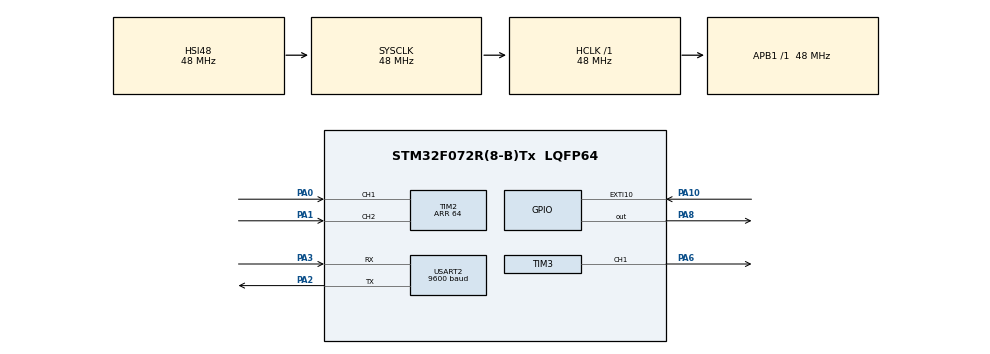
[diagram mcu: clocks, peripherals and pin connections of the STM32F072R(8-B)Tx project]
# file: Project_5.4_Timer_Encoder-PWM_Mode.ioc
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Mcu.Family=STM32F0
Mcu.Name=STM32F072R(8-B)Tx
Mcu.Package=LQFP64
NVIC.EXTI4_15_IRQn=true\:0\:0\:false\:false\:true\:true\:true\:true
PA0.Signal=S_TIM2_CH1_ETR
PA1.Signal=S_TIM2_CH2
PA10.GPIO_PuPd=GPIO_PULLUP
PA10.Signal=GPXTI10
PA2.Mode=Asynchronous
PA2.Signal=USART2_TX
PA3.Mode=Asynchronous
PA3.Signal=USART2_RX
PA6.Signal=S_TIM3_CH1
PA8.Signal=GPIO_Output
ProjectManager.HeapSize=0x200
ProjectManager.StackSize=0x400
ProjectManager.TargetToolchain=STM32CubeIDE
RCC.AHBFreq_Value=48000000
RCC.APB1Freq_Value=48000000
RCC.APB1TimFreq_Value=48000000
RCC.HCLKFreq_Value=48000000
RCC.SYSCLKFreq_VALUE=48000000
RCC.SYSCLKSource=RCC_SYSCLKSOURCE_HSI48
SH.S_TIM2_CH1_ETR.0=TIM2_CH1,Encoder_Interface
SH.S_TIM2_CH2.0=TIM2_CH2,Encoder_Interface
SH.S_TIM3_CH1.0=TIM3_CH1,PWM Generation1 CH1
TIM2.AutoReloadPreload=TIM_AUTORELOAD_PRELOAD_ENABLE
TIM2.CounterMode=TIM_COUNTERMODE_CENTERALIGNED1
TIM2.EncoderMode=TIM_ENCODERMODE_TI12
TIM2.IC1Filter=15
TIM2.IC2Filter=15
TIM2.Period=64
TIM3.AutoReloadPreload=TIM_AUTORELOAD_PRELOAD_ENABLE
TIM3.Channel-PWM\ Generation1\ CH1=TIM_CHANNEL_1
TIM3.OCMode_PWM-PWM\ Generation1\ CH1=TIM_OCMODE_PWM2
TIM3.Period=64
USART2.BaudRate=9600
USART2.VirtualMode-Asynchronous=VM_ASYNC
VP_TIM3_VS_ClockSourceINT.Mode=Internal
board=custom

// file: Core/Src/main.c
/* USER CODE BEGIN Header */
/**
  ******************************************************************************
  * @file           : main.c
  * @brief          : Main program body
  ******************************************************************************
  * @attention
  *
  * Copyright (c) 2023 STMicroelectronics.
  * All rights reserved.
  *
  * This software is licensed under terms that can be found in the LICENSE file
  * in the root directory of this software component.
  * If no LICENSE file comes with this software, it is provided AS-IS.
  *
  ******************************************************************************
  */
/* USER CODE END Header */
#include "main.h"

TIM_HandleTypeDef htim2;
TIM_HandleTypeDef htim3;

UART_HandleTypeDef huart2;

void SystemClock_Config(void);
static void MX_GPIO_Init(void);
static void MX_TIM2_Init(void);
static void MX_TIM3_Init(void);
static void MX_USART2_UART_Init(void);

/* USER CODE BEGIN 0 */
uint8_t start_msg[50] = {"Encoder is starting\n\r"};
uint8_t stop_msg[50] = {"Encoder is stopped\n\r"};
uint8_t status = 0;

void HAL_GPIO_EXTI_Callback(uint16_t GPIO_Pin){

	if(GPIO_Pin == GPIO_PIN_10){

		HAL_GPIO_TogglePin(GPIOA, GPIO_PIN_8);
		switch (status){
		case 0:
	    	  HAL_TIM_Encoder_Start(&htim2, TIM_CHANNEL_ALL);
	    	  HAL_TIM_PWM_Start(&htim3, TIM_CHANNEL_1);
	    	  HAL_UART_Transmit(&huart2, start_msg, sizeof(start_msg), 100);
	    	  status = 1;
	    	  break;
		case 1:
	    	  HAL_TIM_Encoder_Stop(&htim2, TIM_CHANNEL_ALL);
			  HAL_TIM_PWM_Stop(&htim3, TIM_CHANNEL_1);
	          HAL_UART_Transmit(&huart2, stop_msg, sizeof(stop_msg), 100);
	          status=0;
	          break;

		}

	}
}
/* USER CODE END 0 */

int main(void)
{
  /* USER CODE BEGIN 1 */
	uint8_t msg[50] = {'\0'};
	uint16_t LED_Duty_Cycle = 0;
  /* USER CODE END 1 */

  /* MCU Configuration--------------------------------------------------------*/

  /* Reset of all peripherals, Initializes the Flash interface and the Systick. */
  HAL_Init();

  /* Configure the system clock */
  SystemClock_Config();

  /* Initialize all configured peripherals */
  MX_GPIO_Init();
  MX_TIM2_Init();
  MX_TIM3_Init();
  MX_USART2_UART_Init();

  /* Infinite loop */
  while (1)
  {

    /* USER CODE BEGIN 3 */
		if (status) {

			sprintf(msg, "Brightness of the LED = %d\n\r", ((TIM2->CNT)) >> 1);
			HAL_UART_Transmit(&huart2, msg, sizeof(msg), 100);

		}
		HAL_Delay(100);
		LED_Duty_Cycle = ((TIM2->CNT));
		TIM3->CCR1 = LED_Duty_Cycle;
  }
  /* USER CODE END 3 */
}

void SystemClock_Config(void)
{
  RCC_OscInitTypeDef RCC_OscInitStruct = {0};
  RCC_ClkInitTypeDef RCC_ClkInitStruct = {0};
  RCC_PeriphCLKInitTypeDef PeriphClkInit = {0};

  /** Initializes the RCC Oscillators according to the specified parameters
  * in the RCC_OscInitTypeDef structure.
  */
  RCC_OscInitStruct.OscillatorType = RCC_OSCILLATORTYPE_HSI48;
  RCC_OscInitStruct.HSI48State = RCC_HSI48_ON;
  RCC_OscInitStruct.PLL.PLLState = RCC_PLL_NONE;
  if (HAL_RCC_OscConfig(&RCC_OscInitStruct) != HAL_OK)
  {
    Error_Handler();
  }

  /** Initializes the CPU, AHB and APB buses clocks
  */
  RCC_ClkInitStruct.ClockType = RCC_CLOCKTYPE_HCLK|RCC_CLOCKTYPE_SYSCLK
                              |RCC_CLOCKTYPE_PCLK1;
  RCC_ClkInitStruct.SYSCLKSource = RCC_SYSCLKSOURCE_HSI48;
  RCC_ClkInitStruct.AHBCLKDivider = RCC_SYSCLK_DIV1;
  RCC_ClkInitStruct.APB1CLKDivider = RCC_HCLK_DIV1;

  if (HAL_RCC_ClockConfig(&RCC_ClkInitStruct, FLASH_LATENCY_1) != HAL_OK)
  {
    Error_Handler();
  }
  PeriphClkInit.PeriphClockSelection = RCC_PERIPHCLK_USART2;
  PeriphClkInit.Usart2ClockSelection = RCC_USART2CLKSOURCE_PCLK1;
  if (HAL_RCCEx_PeriphCLKConfig(&PeriphClkInit) != HAL_OK)
  {
    Error_Handler();
  }
}

static void MX_TIM2_Init(void)
{

  TIM_Encoder_InitTypeDef sConfig = {0};
  TIM_MasterConfigTypeDef sMasterConfig = {0};

  htim2.Instance = TIM2;
  htim2.Init.Prescaler = 0;
  htim2.Init.CounterMode = TIM_COUNTERMODE_CENTERALIGNED1;
  htim2.Init.Period = 64;
  htim2.Init.ClockDivision = TIM_CLOCKDIVISION_DIV1;
  htim2.Init.AutoReloadPreload = TIM_AUTORELOAD_PRELOAD_ENABLE;
  sConfig.EncoderMode = TIM_ENCODERMODE_TI12;
  sConfig.IC1Polarity = TIM_ICPOLARITY_RISING;
  sConfig.IC1Selection = TIM_ICSELECTION_DIRECTTI;
  sConfig.IC1Prescaler = TIM_ICPSC_DIV1;
  sConfig.IC1Filter = 15;
  sConfig.IC2Polarity = TIM_ICPOLARITY_RISING;
  sConfig.IC2Selection = TIM_ICSELECTION_DIRECTTI;
  sConfig.IC2Prescaler = TIM_ICPSC_DIV1;
  sConfig.IC2Filter = 15;
  if (HAL_TIM_Encoder_Init(&htim2, &sConfig) != HAL_OK)
  {
    Error_Handler();
  }
  sMasterConfig.MasterOutputTrigger = TIM_TRGO_RESET;
  sMasterConfig.MasterSlaveMode = TIM_MASTERSLAVEMODE_DISABLE;
  if (HAL_TIMEx_MasterConfigSynchronization(&htim2, &sMasterConfig) != HAL_OK)
  {
    Error_Handler();
  }

}

static void MX_TIM3_Init(void)
{

  TIM_ClockConfigTypeDef sClockSourceConfig = {0};
  TIM_MasterConfigTypeDef sMasterConfig = {0};
  TIM_OC_InitTypeDef sConfigOC = {0};

  htim3.Instance = TIM3;
  htim3.Init.Prescaler = 0;
  htim3.Init.CounterMode = TIM_COUNTERMODE_UP;
  htim3.Init.Period = 64;
  htim3.Init.ClockDivision = TIM_CLOCKDIVISION_DIV1;
  htim3.Init.AutoReloadPreload = TIM_AUTORELOAD_PRELOAD_ENABLE;
  if (HAL_TIM_Base_Init(&htim3) != HAL_OK)
  {
    Error_Handler();
  }
  sClockSourceConfig.ClockSource = TIM_CLOCKSOURCE_INTERNAL;
  if (HAL_TIM_ConfigClockSource(&htim3, &sClockSourceConfig) != HAL_OK)
  {
    Error_Handler();
  }
  if (HAL_TIM_PWM_Init(&htim3) != HAL_OK)
  {
    Error_Handler();
  }
  sMasterConfig.MasterOutputTrigger = TIM_TRGO_RESET;
  sMasterConfig.MasterSlaveMode = TIM_MASTERSLAVEMODE_DISABLE;
  if (HAL_TIMEx_MasterConfigSynchronization(&htim3, &sMasterConfig) != HAL_OK)
  {
    Error_Handler();
  }
  sConfigOC.OCMode = TIM_OCMODE_PWM2;
  sConfigOC.Pulse = 0;
  sConfigOC.OCPolarity = TIM_OCPOLARITY_HIGH;
  sConfigOC.OCFastMode = TIM_OCFAST_DISABLE;
  if (HAL_TIM_PWM_ConfigChannel(&htim3, &sConfigOC, TIM_CHANNEL_1) != HAL_OK)
  {
    Error_Handler();
  }
  HAL_TIM_MspPostInit(&htim3);

}

static void MX_USART2_UART_Init(void)
{

  huart2.Instance = USART2;
  huart2.Init.BaudRate = 9600;
  huart2.Init.WordLength = UART_WORDLENGTH_8B;
  huart2.Init.StopBits = UART_STOPBITS_1;
  huart2.Init.Parity = UART_PARITY_NONE;
  huart2.Init.Mode = UART_MODE_TX_RX;
  huart2.Init.HwFlowCtl = UART_HWCONTROL_NONE;
  huart2.Init.OverSampling = UART_OVERSAMPLING_16;
  huart2.Init.OneBitSampling = UART_ONE_BIT_SAMPLE_DISABLE;
  huart2.AdvancedInit.AdvFeatureInit = UART_ADVFEATURE_NO_INIT;
  if (HAL_UART_Init(&huart2) != HAL_OK)
  {
    Error_Handler();
  }

}

static void MX_GPIO_Init(void)
{
  GPIO_InitTypeDef GPIO_InitStruct = {0};

  /* GPIO Ports Clock Enable */
  __HAL_RCC_GPIOA_CLK_ENABLE();

  /*Configure GPIO pin Output Level */
  HAL_GPIO_WritePin(GPIOA, GPIO_PIN_8, GPIO_PIN_RESET);

  /*Configure GPIO pin : PA8 */
  GPIO_InitStruct.Pin = GPIO_PIN_8;
  GPIO_InitStruct.Mode = GPIO_MODE_OUTPUT_PP;
  GPIO_InitStruct.Pull = GPIO_NOPULL;
  GPIO_InitStruct.Speed = GPIO_SPEED_FREQ_LOW;
  HAL_GPIO_Init(GPIOA, &GPIO_InitStruct);

  /*Configure GPIO pin : PA10 */
  GPIO_InitStruct.Pin = GPIO_PIN_10;
  GPIO_InitStruct.Mode = GPIO_MODE_IT_RISING;
  GPIO_InitStruct.Pull = GPIO_PULLUP;
  HAL_GPIO_Init(GPIOA, &GPIO_InitStruct);

  /* EXTI interrupt init*/
  HAL_NVIC_SetPriority(EXTI4_15_IRQn, 0, 0);
  HAL_NVIC_EnableIRQ(EXTI4_15_IRQn);

  HAL_GPIO_WritePin(GPIOA, GPIO_PIN_8, GPIO_PIN_SET);

}

void Error_Handler(void)
{
  __disable_irq();
  while (1)
  {
  }
}
